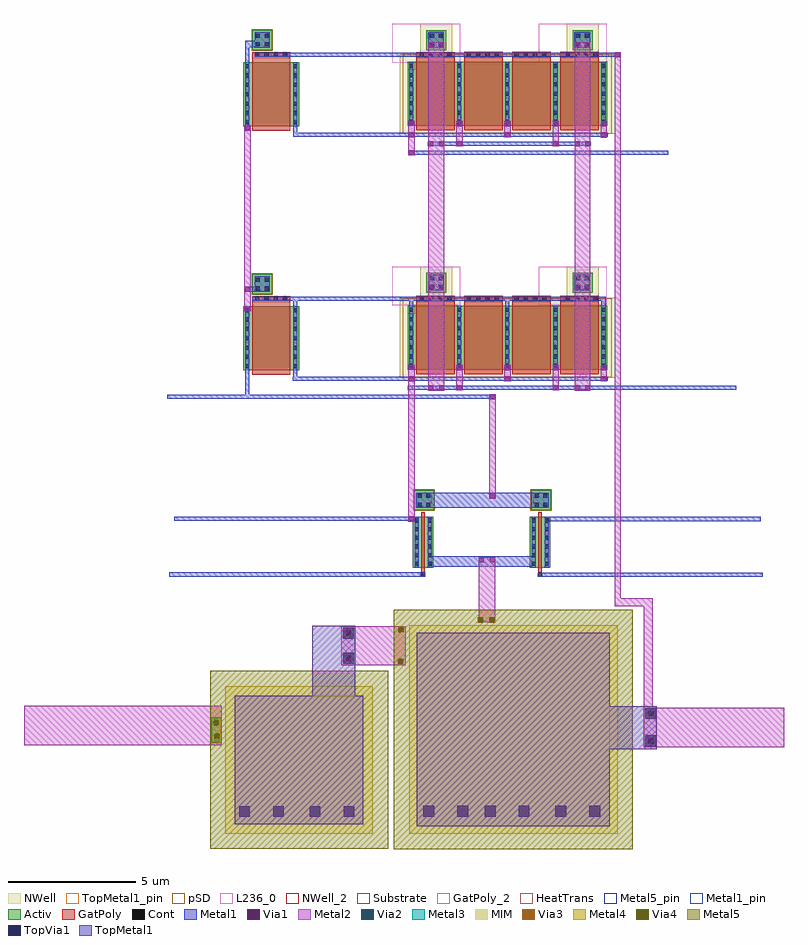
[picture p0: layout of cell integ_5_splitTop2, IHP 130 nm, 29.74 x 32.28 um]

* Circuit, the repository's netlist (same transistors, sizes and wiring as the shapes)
* Extracted by KLayout with SG13G2 LVS runset on : 08/05/2024 07:34

* cell integ_5_splitTop2
* pin sub!
.SUBCKT integ_5_splitTop2 sub!
* device instance $1 r0 *1 -4.307,-17.041 sg13_lv_nmos
M$1 \$7 \$6 \$1 sub! sg13_lv_nmos W=2.0 L=0.13
* device instance $2 r0 *1 0.269,-17.041 sg13_lv_nmos
M$2 \$1 \$5 \$8 sub! sg13_lv_nmos W=2.0 L=0.13
* device instance $3 r0 *1 -10.246,-9.063 sg13_lv_nmos
M$3 sub! \$7 \$7 sub! sg13_lv_nmos W=2.5 L=1.5
* device instance $4 r0 *1 -10.246,0.483 sg13_lv_nmos
M$4 sub! \$3 \$23 sub! sg13_lv_nmos W=2.5 L=1.5
* device instance $5 r0 *1 -3.828,-9.047 sg13_lv_pmos
M$5 \$7 \$7 \$14 \$14 sg13_lv_pmos W=10.0 L=1.5
* device instance $9 r0 *1 -3.828,0.499 sg13_lv_pmos
M$9 \$23 \$3 \$14 \$14 sg13_lv_pmos W=10.0 L=1.5
* device instance $13 r0 *1 -12.644,-29.041 cap_cmim
C$13 \$1 \$2 cap_cmim w=5.77 l=5.77 m=1
* device instance $14 r0 *1 -5.459,-29.046 cap_cmim
C$14 \$3 \$1 cap_cmim w=8.16 l=8.16 m=1
.ENDS integ_5_splitTop2

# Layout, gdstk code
from math import pi, radians
import gdstk
lib = gdstk.Library(unit=1e-6, precision=1e-09)
def R(c, l, rs):  # rectangles x0, y0, x1, y1
    for r in rs: c.add(gdstk.rectangle(r[:2], r[2:], *l))
def A(c, l, x, y, w, h, nx, ny, dx, dy):  # array of equal rectangles
    R(c, l, [(x+i*dx, y+j*dy, x+i*dx+w, y+j*dy+h) for i in range(nx) for j in range(ny)])
def P(c, l, *ps):  # polygons
    for p in ps: c.add(gdstk.Polygon(p, *l))
Activ = (1, 0)
GatPoly = (5, 0)
GatPoly_2 = (5, 2)
Cont = (6, 0)
Metal1 = (8, 0)
Metal1_pin = (8, 2)
Metal2 = (10, 0)
pSD = (14, 0)
Via1 = (19, 0)
Via2 = (29, 0)
Metal3 = (30, 0)
NWell = (31, 0)
NWell_2 = (31, 2)
MIM = (36, 0)
Substrate = (40, 0)
Via3 = (49, 0)
Metal4 = (50, 0)
HeatTrans = (51, 0)
Via4 = (66, 0)
Metal5 = (67, 0)
Metal5_pin = (67, 2)
TopVia1 = (125, 0)
TopMetal1 = (126, 0)
TopMetal1_pin = (126, 2)
L236_0 = (236, 0)

ptap = lib.new_cell('ptap')
R(ptap, Activ, [(0,0,0.78,0.78)])
R(ptap, Cont, [(0.14,0.14,0.3,0.3), (0.48,0.14,0.64,0.3), (0.14,0.48,0.3,0.64), (0.48,0.48,0.64,0.64)])
R(ptap, Metal1, [(0.09,0.09,0.69,0.69)])
R(ptap, Metal1_pin, [(0.09,0.09,0.69,0.69)])
R(ptap, pSD, [(-0.03,-0.03,0.81,0.81)])

integ_5_split3 = lib.new_cell('integ_5_split3')
A(integ_5_split3, Activ, 0.029, 0.01, 0.3, 0.3, 5, 2, 1.88, 9.546)
R(integ_5_split3, Activ, [(0.605,-1.235,1.385,-0.455), (6.331,-1.235,7.111,-0.455), (0.029,0.01,7.849,2.51), (12.087,0.026,12.387,0.326), (12.087,0.026,14.267,2.526), (13.967,0.026,14.267,0.326), (0.605,8.255,1.385,9.035), (6.331,8.255,7.111,9.035), (0.029,9.556,7.849,12.056), (12.087,9.572,12.387,9.872), (12.087,9.572,14.267,12.072), (13.967,9.572,14.267,9.872)])
R(integ_5_split3, GatPoly, [(2.249,-0.385,3.749,2.69), (4.129,-0.382,5.629,2.69), (0.369,-0.38,1.869,2.69), (6.009,-0.379,7.509,2.69), (12.427,-0.378,13.927,2.706), (0.369,-0.17,1.869,2.69), (0.369,-0.17,1.869,2.69), (2.249,9.161,3.749,12.236), (4.129,9.164,5.629,12.236), (0.369,9.166,1.869,12.236), (6.009,9.167,7.509,12.236), (12.427,9.168,13.927,12.252), (0.369,9.376,1.869,12.236), (0.369,9.376,1.869,12.236)])
R(integ_5_split3, GatPoly_2, [(12.427,-0.154,13.927,2.706), (12.427,-0.154,13.927,2.706), (12.427,9.392,13.927,12.252), (12.427,9.392,13.927,12.252)])
A(integ_5_split3, Cont, 0.099, 0.08, 0.16, 0.16, 5, 3, 1.88, 0.365)
A(integ_5_split3, Cont, 12.157, 0.096, 0.16, 0.16, 1, 3, 0, 0.365)
A(integ_5_split3, Cont, 14.037, 0.096, 0.16, 0.16, 1, 3, 0, 0.365)
A(integ_5_split3, Cont, 0.099, 1.18, 0.16, 0.16, 5, 3, 1.88, 0.365)
A(integ_5_split3, Cont, 12.157, 1.196, 0.16, 0.16, 1, 3, 0, 0.365)
A(integ_5_split3, Cont, 14.037, 1.196, 0.16, 0.16, 1, 3, 0, 0.365)
A(integ_5_split3, Cont, 0.099, 2.28, 0.16, 0.16, 5, 2, 1.88, 7.346)
A(integ_5_split3, Cont, 12.157, 9.642, 0.16, 0.16, 1, 3, 0, 0.365)
A(integ_5_split3, Cont, 14.037, 9.642, 0.16, 0.16, 1, 3, 0, 0.365)
A(integ_5_split3, Cont, 0.099, 9.991, 0.16, 0.16, 5, 2, 1.88, 0.365)
A(integ_5_split3, Cont, 0.099, 10.726, 0.16, 0.16, 5, 3, 1.88, 0.365)
A(integ_5_split3, Cont, 12.157, 10.742, 0.16, 0.16, 1, 3, 0, 0.365)
A(integ_5_split3, Cont, 14.037, 10.742, 0.16, 0.16, 1, 3, 0, 0.365)
A(integ_5_split3, Cont, 0.099, 11.826, 0.16, 0.16, 5, 1, 1.88, 0)
R(integ_5_split3, Cont, [(0.745,-1.095,0.905,-0.935), (1.085,-1.095,1.245,-0.935), (6.471,-1.095,6.631,-0.935), (6.811,-1.095,6.971,-0.935), (0.745,-0.755,0.905,-0.595), (1.085,-0.755,1.245,-0.595), (6.471,-0.755,6.631,-0.595), (6.811,-0.755,6.971,-0.595), (12.562,-0.36,12.722,-0.2), (12.927,-0.36,13.087,-0.2), (13.287,-0.36,13.447,-0.2), (13.652,-0.36,13.812,-0.2), (0.413,-0.358,0.573,-0.198), (0.778,-0.358,0.938,-0.198), (1.138,-0.358,1.298,-0.198), (1.503,-0.358,1.663,-0.198), (2.414,-0.358,2.574,-0.198), (2.779,-0.358,2.939,-0.198), (3.139,-0.358,3.299,-0.198), (3.504,-0.358,3.664,-0.198), (4.275,-0.358,4.435,-0.198), (4.64,-0.358,4.8,-0.198), (5,-0.358,5.16,-0.198), (5.365,-0.358,5.525,-0.198), (6.126,-0.358,6.286,-0.198), (6.491,-0.358,6.651,-0.198), (6.851,-0.358,7.011,-0.198), (7.216,-0.358,7.376,-0.198), (12.157,2.296,12.317,2.456), (14.037,2.296,14.197,2.456), (0.745,8.395,0.905,8.555), (1.085,8.395,1.245,8.555), (6.471,8.395,6.631,8.555), (6.811,8.395,6.971,8.555), (0.745,8.735,0.905,8.895), (1.085,8.735,1.245,8.895), (6.471,8.735,6.631,8.895), (6.811,8.735,6.971,8.895), (12.562,9.186,12.722,9.346), (12.927,9.186,13.087,9.346), (13.287,9.186,13.447,9.346), (13.652,9.186,13.812,9.346), (0.413,9.188,0.573,9.348), (0.778,9.188,0.938,9.348), (1.138,9.188,1.298,9.348), (1.503,9.188,1.663,9.348), (2.414,9.188,2.574,9.348), (2.779,9.188,2.939,9.348), (3.139,9.188,3.299,9.348), (3.504,9.188,3.664,9.348), (4.275,9.188,4.435,9.348), (4.64,9.188,4.8,9.348), (5,9.188,5.16,9.348), (5.365,9.188,5.525,9.348), (6.126,9.188,6.286,9.348), (6.491,9.188,6.651,9.348), (6.851,9.188,7.011,9.348), (7.216,9.188,7.376,9.348), (12.157,11.842,12.317,12.002), (14.037,11.842,14.197,12.002)])
A(integ_5_split3, Metal1, 1.979, 0.01, 0.16, 2.5, 4, 1, 1.88, 0)
R(integ_5_split3, Metal1, [(0.695,-1.145,1.317,-0.545), (6.421,-1.145,7.041,-0.545), (-0.489,-0.358,13.826,-0.198), (0.099,0.01,0.259,2.51), (0.099,0.01,0.259,2.51), (0.099,0.01,0.259,2.51), (1.979,0.01,2.139,2.51), (1.979,0.01,2.139,2.51), (12.157,0.026,12.317,2.941), (0.021,2.785,12.317,2.945), (0.67,3.134,7.059,3.294), (0.695,8.345,1.317,8.945), (6.421,8.345,7.041,8.945), (13.827,8.798,14.246,9.004), (0.099,9.188,0.259,12.056), (0.103,9.188,13.919,9.348), (7.619,9.189,7.779,12.056), (12.157,9.196,12.317,12.487), (3.859,9.207,4.019,12.056), (0.099,9.556,0.259,12.056), (0.099,9.556,0.259,12.056), (1.979,9.556,2.139,12.056), (1.979,9.556,2.139,12.056), (1.979,9.556,2.139,12.056), (5.739,9.556,5.899,12.056), (14.037,9.572,14.197,13.176), (0.021,12.331,12.338,12.491), (-5.006,12.68,7.831,12.84)])
P(integ_5_split3, Metal1, [(13.811,-0.819),(13.811,-0.565),(14.037,-0.565),(14.037,2.683),(14.197,2.683),(14.197,-0.819)])
R(integ_5_split3, Metal1_pin, [(0.695,-1.145,1.295,-0.545), (6.421,-1.145,7.021,-0.545), (12.157,0.026,12.317,2.526), (12.157,0.026,12.317,2.526), (14.037,0.026,14.197,2.526), (14.037,0.026,14.197,2.526), (0.695,8.345,1.295,8.945), (6.421,8.345,7.021,8.945), (12.157,9.572,12.317,12.072), (12.157,9.572,12.317,12.072), (14.037,9.572,14.197,12.072), (14.037,9.572,14.197,12.072)])
R(integ_5_split3, Metal2, [(0.689,-0.769,1.314,12.875), (6.407,-0.763,7.045,12.872), (-0.503,-0.377,-0.254,21.289), (1.924,2.314,2.172,3.306), (7.561,2.316,7.81,3.655), (3.807,2.32,4.055,2.964), (5.687,2.32,5.935,3.313), (0.044,2.325,0.292,2.968), (13.981,2.494,14.23,9.774), (1.924,11.86,2.172,12.852), (7.561,11.862,7.81,17.993), (3.807,11.866,4.055,12.505), (5.687,11.866,5.935,12.859), (0.044,11.871,0.292,12.507)])
R(integ_5_split3, pSD, [(-0.151,-0.29,8.029,2.81), (-0.151,9.256,8.029,12.356)])
R(integ_5_split3, Via1, [(0.698,-0.75,0.888,-0.56), (1.12,-0.75,1.31,-0.56), (6.422,-0.744,6.612,-0.554), (6.847,-0.744,7.037,-0.554), (-0.474,-0.363,-0.284,-0.173), (7.598,2.325,7.788,2.515), (1.961,2.333,2.151,2.523), (3.844,2.339,4.034,2.529), (5.724,2.339,5.914,2.529), (0.081,2.344,0.271,2.534), (14.018,2.503,14.208,2.693), (3.855,2.76,4.045,2.95), (0.092,2.765,0.282,2.955), (7.609,2.767,7.799,2.957), (1.972,3.107,2.162,3.297), (5.718,3.111,5.908,3.301), (0.695,3.114,0.885,3.304), (1.117,3.114,1.307,3.304), (6.412,3.118,6.602,3.308), (6.845,3.118,7.035,3.308), (0.698,8.74,0.888,8.93), (1.12,8.74,1.31,8.93), (6.422,8.746,6.612,8.936), (6.847,8.746,7.037,8.936), (14.02,8.808,14.21,8.998), (14.02,9.579,14.21,9.769), (7.598,11.871,7.788,12.061), (1.961,11.879,2.151,12.069), (3.844,11.885,4.034,12.075), (5.724,11.885,5.914,12.075), (0.081,11.89,0.271,12.08), (3.855,12.306,4.045,12.496), (0.092,12.311,0.282,12.501), (7.609,12.313,7.799,12.503), (1.972,12.653,2.162,12.843), (5.718,12.657,5.908,12.847), (0.695,12.662,0.885,12.852), (1.117,12.662,1.307,12.852), (6.412,12.663,6.602,12.853), (6.845,12.663,7.035,12.853)])
R(integ_5_split3, NWell, [(0.365,-1.475,1.625,-0.215), (6.091,-1.475,7.351,-0.215), (-0.281,-0.3,8.159,2.82), (0.365,8.015,1.625,9.275), (6.091,8.015,7.351,9.275), (-0.281,9.246,8.159,12.366)])
R(integ_5_split3, NWell_2, [(0.605,-1.235,1.385,-0.455), (6.331,-1.235,7.111,-0.455)])
R(integ_5_split3, Substrate, [(7.549,0.01,7.849,0.31), (7.549,0.01,7.849,0.31), (7.549,9.556,7.849,9.856), (7.549,9.556,7.849,9.856)])
A(integ_5_split3, HeatTrans, 0.369, -0.17, 1.5, 2.86, 4, 2, 1.88, 9.546)
R(integ_5_split3, HeatTrans, [(12.427,-0.154,13.927,2.706), (12.427,9.392,13.927,12.252)])
R(integ_5_split3, L236_0, [(0.051,-1.475,2.719,0.045), (5.777,-1.475,8.445,0.045), (0.051,8.015,2.719,9.535), (5.777,8.015,8.445,9.535)])
integ_5_split3.add(gdstk.Reference(ptap, (13.922,-0.457), rotation=pi))
integ_5_split3.add(gdstk.Reference(ptap, (13.922,9.094), rotation=pi))
integ_5_split3.add(gdstk.Label('pmos', (1.119,1.26), layer=51, texttype=0))
integ_5_split3.add(gdstk.Label('pmos', (2.999,1.26), layer=51, texttype=0))
integ_5_split3.add(gdstk.Label('pmos', (4.879,1.26), layer=51, texttype=0))
integ_5_split3.add(gdstk.Label('pmos', (6.759,1.26), layer=51, texttype=0))
integ_5_split3.add(gdstk.Label('nmos', (13.177,1.276), layer=51, texttype=0))
integ_5_split3.add(gdstk.Label('pmos', (1.119,10.806), layer=51, texttype=0))
integ_5_split3.add(gdstk.Label('pmos', (2.999,10.806), layer=51, texttype=0))
integ_5_split3.add(gdstk.Label('pmos', (4.879,10.806), layer=51, texttype=0))
integ_5_split3.add(gdstk.Label('pmos', (6.759,10.806), layer=51, texttype=0))
integ_5_split3.add(gdstk.Label('nmos', (13.177,10.822), layer=51, texttype=0))
integ_5_split3.add(gdstk.Label('vdda', (-4.931,12.724), layer=8, texttype=25))
integ_5_split3.add(gdstk.Label('vout', (-1.702,3.553), layer=8, texttype=25))
integ_5_split3.add(gdstk.Label('pmos', (1.119,1.26), layer=63, texttype=0))
integ_5_split3.add(gdstk.Label('pmos', (1.119,10.806), layer=63, texttype=0))
integ_5_split3.add(gdstk.Label('well', (7.111,-0.455), layer=63, texttype=0))
integ_5_split3.add(gdstk.Label('well', (1.385,-0.455), layer=63, texttype=0))
integ_5_split3.add(gdstk.Label('well', (1.385,9.035), layer=63, texttype=0))
integ_5_split3.add(gdstk.Label('well', (7.111,9.035), layer=63, texttype=0))
integ_5_split3.add(gdstk.Label('[@instanceName]', (7.111,-0.715), layer=236, texttype=1))
integ_5_split3.add(gdstk.Label('[@instanceName]', (1.385,-0.715), layer=236, texttype=1))
integ_5_split3.add(gdstk.Label('[@instanceName]', (1.385,8.775), layer=236, texttype=1))
integ_5_split3.add(gdstk.Label('[@instanceName]', (7.111,8.775), layer=236, texttype=1))

integ_5_split4 = lib.new_cell('integ_5_split4')
R(integ_5_split4, Activ, [(0.443,-1.774,1.253,0.226), (5.019,-1.774,5.829,0.226), (0.443,-0.074,0.743,0.226), (0.953,-0.074,1.253,0.226), (5.019,-0.074,5.319,0.226), (5.529,-0.074,5.829,0.226), (0.494,0.478,1.274,1.258), (5.07,0.478,5.85,1.258)])
R(integ_5_split4, GatPoly, [(0.783,-2.123,0.913,0.406), (5.359,-2.122,5.489,0.406)])
R(integ_5_split4, GatPoly_2, [(0.783,-1.954,0.913,0.406), (0.783,-1.954,0.913,0.406), (5.359,-1.954,5.489,0.406), (5.359,-1.954,5.489,0.406)])
A(integ_5_split4, Cont, 0.513, -1.704, 0.16, 0.16, 1, 6, 0, 0.34)
A(integ_5_split4, Cont, 1.023, -1.704, 0.16, 0.16, 1, 6, 0, 0.34)
A(integ_5_split4, Cont, 5.089, -1.704, 0.16, 0.16, 1, 6, 0, 0.34)
A(integ_5_split4, Cont, 5.599, -1.704, 0.16, 0.16, 1, 6, 0, 0.34)
R(integ_5_split4, Cont, [(5.344,-2.124,5.504,-1.964), (0.763,-2.117,0.923,-1.957), (0.634,0.618,0.794,0.778), (0.974,0.618,1.134,0.778), (5.21,0.618,5.37,0.778), (5.55,0.618,5.71,0.778), (0.634,0.958,0.794,1.118), (0.974,0.958,1.134,1.118), (5.21,0.958,5.37,1.118), (5.55,0.958,5.71,1.118)])
R(integ_5_split4, Metal1, [(5.334,-2.124,14.144,-1.964), (-9.076,-2.117,0.933,-1.957), (0.513,-1.774,0.673,0.226), (1.023,-1.774,1.183,0.226), (5.089,-1.774,5.249,0.226), (5.599,-1.774,5.759,0.226), (1.062,-1.739,5.141,-1.326), (5.604,0.054,14.064,0.214), (-8.894,0.066,0.667,0.226), (0.584,0.568,1.184,1.168), (1.12,0.568,5.76,1.168)])
R(integ_5_split4, Metal1_pin, [(0.513,-1.774,0.673,0.226), (0.513,-1.774,0.673,0.226), (1.023,-1.774,1.183,0.226), (1.023,-1.774,1.183,0.226), (5.089,-1.774,5.249,0.226), (5.089,-1.774,5.249,0.226), (5.599,-1.774,5.759,0.226), (5.599,-1.774,5.759,0.226), (0.584,0.568,1.184,1.168), (5.16,0.568,5.76,1.168)])
R(integ_5_split4, Metal2, [(9.473,-8.793,14.968,-7.254), (-14.768,-8.712,-7.034,-7.173), (9.651,-8.646,9.86,-8.442), (9.651,-7.583,9.86,-7.379), (-2.355,-5.597,0.16,-4.062), (-0.139,-5.535,0.07,-5.331), (-2.177,-5.42,-1.968,-5.216), (-2.177,-4.439,-1.968,-4.235), (-0.122,-4.3,0.087,-4.096), (2.993,-3.917,3.202,-3.713), (3.436,-3.917,3.645,-3.713), (3.025,-3.916,3.663,-1.357), (3.441,0.924,3.689,5.017)])
R(integ_5_split4, pSD, [(0.464,0.448,1.304,1.288), (5.04,0.448,5.88,1.288)])
R(integ_5_split4, Via1, [(9.661,-8.637,9.851,-8.447), (9.661,-7.574,9.851,-7.384), (-0.129,-5.526,0.061,-5.336), (-2.167,-5.411,-1.977,-5.221), (-2.167,-4.43,-1.977,-4.24), (-0.112,-4.291,0.078,-4.101), (3.03,-1.566,3.22,-1.376), (3.463,-1.566,3.653,-1.376), (3.478,0.943,3.668,1.133), (3.472,4.818,3.662,5.008)])
R(integ_5_split4, Via2, [(9.661,-8.637,9.851,-8.447), (-7.326,-8.569,-7.136,-8.379), (-7.336,-7.839,-7.146,-7.649), (9.661,-7.574,9.851,-7.384), (-0.129,-5.526,0.061,-5.336), (-2.167,-5.411,-1.977,-5.221), (-2.167,-4.43,-1.977,-4.24), (-0.112,-4.291,0.078,-4.101), (3.003,-3.908,3.193,-3.718), (3.446,-3.908,3.636,-3.718)])
R(integ_5_split4, Metal3, [(9.653,-8.646,9.861,-8.44), (-7.415,-8.593,-7.071,-7.64), (9.653,-7.583,9.861,-7.377), (-0.137,-5.535,0.071,-5.329), (-2.175,-5.42,-1.967,-5.214), (-2.175,-4.439,-1.967,-4.233), (-0.12,-4.3,0.088,-4.094), (2.995,-3.917,3.203,-3.711), (3.438,-3.917,3.646,-3.711)])
R(integ_5_split4, MIM, [(0.296,-12.179,8.456,-4.019), (-6.889,-12.174,-1.119,-6.404)])
R(integ_5_split4, Via3, [(9.661,-8.637,9.851,-8.447), (9.661,-7.574,9.851,-7.384), (-0.129,-5.526,0.061,-5.336), (-2.167,-5.411,-1.977,-5.221), (-2.167,-4.43,-1.977,-4.24), (-0.112,-4.291,0.078,-4.101), (3.003,-3.908,3.193,-3.718), (3.446,-3.908,3.636,-3.718)])
R(integ_5_split4, Metal4, [(9.646,-8.647,9.864,-8.437), (-7.457,-8.641,-7.05,-7.629), (9.646,-7.584,9.864,-7.374), (-0.144,-5.536,0.074,-5.326), (-2.182,-5.421,-1.964,-5.211), (-2.182,-4.44,-1.964,-4.23), (-0.127,-4.301,0.091,-4.091), (2.988,-3.918,3.206,-3.708), (3.431,-3.918,3.649,-3.708)])
R(integ_5_split4, HeatTrans, [(0.783,-1.954,0.913,0.406), (5.359,-1.954,5.489,0.406)])
R(integ_5_split4, Via4, [(9.661,-8.637,9.851,-8.447), (-7.326,-8.451,-7.136,-8.261), (-7.336,-7.938,-7.146,-7.748), (9.661,-7.574,9.851,-7.384), (-0.129,-5.526,0.061,-5.336), (-2.167,-5.411,-1.977,-5.221), (-2.167,-4.43,-1.977,-4.24), (-0.112,-4.291,0.078,-4.101), (3.003,-3.908,3.193,-3.718), (3.446,-3.908,3.636,-3.718)])
R(integ_5_split4, Metal5, [(-0.304,-12.779,9.056,-3.419), (-7.489,-12.774,-0.519,-5.804), (9.641,-8.652,9.869,-8.432), (9.641,-7.589,9.869,-7.369), (-2.187,-5.426,-1.959,-5.206), (-2.187,-4.445,-1.959,-4.225)])
R(integ_5_split4, Metal5_pin, [(-0.304,-12.779,9.056,-3.419), (-7.489,-12.774,-0.519,-5.804)])
R(integ_5_split4, TopVia1, [(-2.262,-11.52,-1.842,-11.1), (7.352,-11.512,7.772,-11.092), (9.546,-8.752,9.966,-8.332), (9.546,-7.689,9.966,-7.269), (-2.282,-5.526,-1.862,-5.106), (-2.282,-4.545,-1.862,-4.125)])
R(integ_5_split4, TopMetal1, [(0.591,-11.884,8.151,-4.324), (7.089,-8.867,9.992,-7.19)])
P(integ_5_split4, TopMetal1, [(-6.529,-11.814),(-6.529,-6.774),(-3.495,-6.774),(-3.495,-4.037),(-1.812,-4.037),(-1.812,-6.774),(-1.489,-6.774),(-1.489,-11.814)])
R(integ_5_split4, TopMetal1_pin, [(0.591,-11.884,8.151,-4.324), (-6.529,-11.814,-1.489,-6.774)])
integ_5_split4.add(gdstk.Label('nmos', (5.424,-0.774), layer=51, texttype=0))
integ_5_split4.add(gdstk.Label('nmos', (0.848,-0.774), layer=51, texttype=0))
integ_5_split4.add(gdstk.Label('vx1', (-14.513,-7.779), layer=8, texttype=25))
integ_5_split4.add(gdstk.Label('vx3', (14.428,-8.088), layer=8, texttype=25))
integ_5_split4.add(gdstk.Label('pr', (14.031,-2.034), layer=8, texttype=25))
integ_5_split4.add(gdstk.Label('vx4', (13.81,0.165), layer=8, texttype=25))
integ_5_split4.add(gdstk.Label('pse', (-8.934,-2.018), layer=8, texttype=25))
integ_5_split4.add(gdstk.Label('vmid', (-8.771,0.15), layer=8, texttype=25))
integ_5_split4.add(gdstk.Label('vssa', (-9.044,4.906), layer=8, texttype=25))
integ_5_split4.add(gdstk.Label('SOURCE', (5.137,-1.646), layer=8, texttype=25))
integ_5_split4.add(gdstk.Label('DRAIN', (1.086,-1.685), layer=8, texttype=25))

integ_5_splittop2 = lib.new_cell('integ_5_splitTop2')
R(integ_5_splittop2, Metal1, [(-14.311,-11.428,-1.474,-11.268), (-4.864,-1.888,5.288,-1.728)])
P(integ_5_splittop2, Metal2, [(4.324,-23.605),(4.324,-19.542),(3.184,-19.542),(3.184,-19.225),(4.483,-19.225),(4.675,-19.225),(4.675,-23.605)])
R(integ_5_splittop2, Via1, [(-4.868,-16.216,-4.678,-16.026), (-4.844,-1.893,-4.654,-1.703)])
R(integ_5_splittop2, TopVia1, [(-11.505,-27.787,-11.085,-27.367), (-10.179,-27.787,-9.759,-27.367), (-8.743,-27.787,-8.323,-27.367), (-4.296,-27.779,-3.876,-27.359), (-2.97,-27.779,-2.55,-27.359), (-1.891,-27.779,-1.471,-27.359), (-0.565,-27.779,-0.145,-27.359), (0.871,-27.779,1.291,-27.359)])
integ_5_splittop2.add(gdstk.Reference(integ_5_split3, (2.931,1.759), rotation=pi))
integ_5_splittop2.add(gdstk.Reference(integ_5_split4, (-5.155,-16.267)))

lib.write_gds('integ_5_splitTop2.gds')
